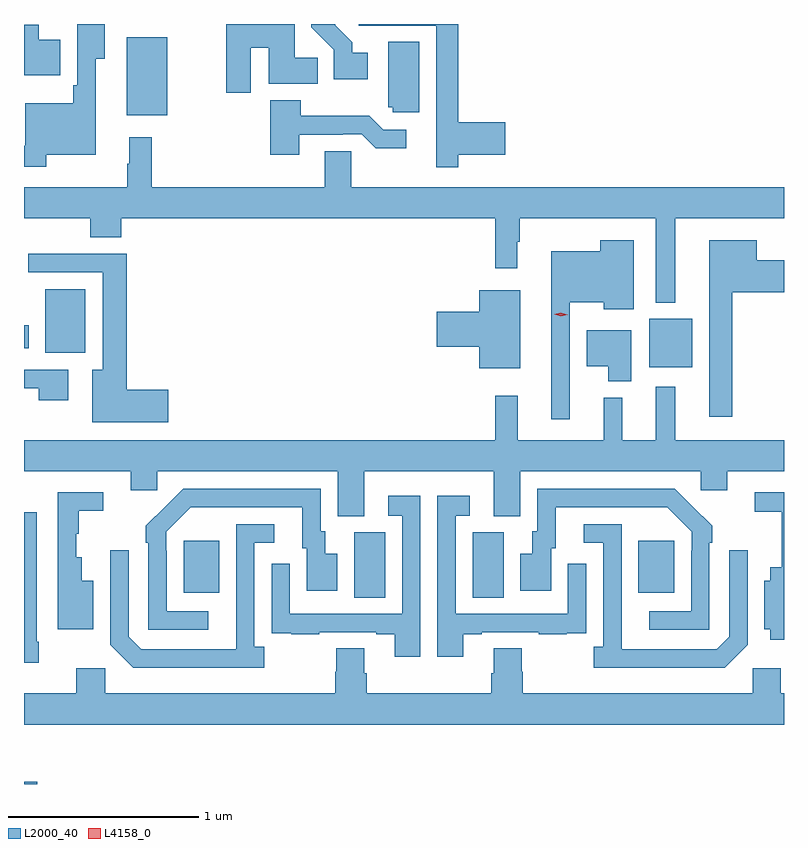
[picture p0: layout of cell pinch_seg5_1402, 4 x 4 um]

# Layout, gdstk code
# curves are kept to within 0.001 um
import gdstk
lib = gdstk.Library(unit=1e-6, precision=1e-09)
def R(c, l, rs):  # rectangles x0, y0, x1, y1
    for r in rs: c.add(gdstk.rectangle(r[:2], r[2:], *l))
def P(c, l, *ps):  # polygons
    for p in ps: c.add(gdstk.Polygon(p, *l))
L2000_40 = (2000, 40)
L4158_0 = (4158, 0)

pinch_seg5_1402 = lib.new_cell('pinch_seg5_1402')
R(pinch_seg5_1402, L2000_40, [(124.553,905.731,124.624,905.743), (126.29,906.712,126.454,907.056), (126.914,906.712,127.078,907.056), (125.393,906.737,125.581,907.012), (127.787,906.737,127.975,907.012), (127.844,907.925,128.071,908.179), (124.664,908,124.876,908.335), (124.553,908.024,124.579,908.146), (125.093,909.251,125.308,909.661)])
P(pinch_seg5_1402, L2000_40, [(125.746,909.605),(125.84,909.605),(125.84,909.416),(126.098,909.416),(126.098,909.554),(125.977,909.554),(125.977,909.731),(125.617,909.731),(125.617,909.369),(125.746,909.369)],
  [(126.839,909.044),(127.087,909.044),(127.087,909.215),(126.839,909.215),(126.839,909.731),(126.315,909.731),(126.315,909.723),(126.723,909.723),(126.723,909.198),(126.722,909.198),(126.722,908.976),(126.839,908.976)],
  [(126.361,909.58),(126.28,909.58),(126.28,909.635),(126.19,909.725),(126.19,909.731),(126.064,909.731),(126.064,909.714),(126.183,909.595),(126.183,909.44),(126.361,909.44)],
  [(124.669,909.044),(124.93,909.044),(124.93,909.548),(124.978,909.548),(124.978,909.731),(124.832,909.731),(124.832,909.409),(124.813,909.409),(124.813,909.313),(124.56,909.313),(124.56,909.091),(124.553,909.091),(124.553,908.979),(124.669,908.979)],
  [(124.744,909.649),(124.63,909.649),(124.63,909.727),(124.553,909.727),(124.553,909.461),(124.744,909.461)],
  [(126.634,909.638),(126.47,909.638),(126.47,909.294),(126.495,909.294),(126.495,909.267),(126.634,909.267)],
  [(126.001,909.147),(126.23,909.147),(126.23,909.15),(126.33,909.15),(126.403,909.077),(126.565,909.077),(126.565,909.174),(126.444,909.174),(126.371,909.247),(126.009,909.247),(126.009,909.331),(125.849,909.331),(125.849,909.042),(126.001,909.042)],
  [(127.981,908.708),(128.553,908.708),(128.553,908.872),(126.276,908.872),(126.276,909.062),(126.137,909.062),(126.137,908.872),(125.225,908.872),(125.225,909.136),(125.108,909.136),(125.108,908.996),(125.097,908.996),(125.097,908.872),(124.553,908.872),(124.553,908.708),(124.901,908.708),(124.901,908.609),(125.066,908.609),(125.066,908.708),(127.033,908.708),(127.033,908.445),(127.15,908.445),(127.15,908.585),(127.162,908.585),(127.162,908.708),(127.877,908.708),(127.877,908.264),(127.981,908.264)],
  [(127.425,908.267),(127.604,908.267),(127.604,908.231),(127.762,908.231),(127.762,908.593),(127.587,908.593),(127.587,908.536),(127.328,908.536),(127.328,907.65),(127.425,907.65)],
  [(128.281,908.318),(128.553,908.318),(128.553,908.488),(128.41,908.488),(128.41,908.593),(128.159,908.593),(128.159,907.665),(128.281,907.665)],
  [(125.311,907.805),(125.093,907.805),(125.093,908.522),(124.575,908.522),(124.575,908.424),(124.967,908.424),(124.967,907.912),(124.913,907.912),(124.913,907.634),(125.311,907.634)],
  [(127.165,908.329),(126.95,908.329),(126.95,908.216),(126.726,908.216),(126.726,908.033),(126.95,908.033),(126.95,907.919),(127.165,907.919)],
  [(127.75,908.119),(127.514,908.119),(127.514,907.931),(127.628,907.931),(127.628,907.85),(127.75,907.85)],
  [(124.786,907.911),(124.553,907.911),(124.553,907.815),(124.63,907.815),(124.63,907.752),(124.786,907.752)],
  [(126.343,907.376),(127.025,907.376),(127.025,907.141),(127.165,907.141),(127.165,907.376),(128.115,907.376),(128.115,907.278),(128.254,907.278),(128.254,907.376),(128.553,907.376),(128.553,907.54),(127.981,907.54),(127.981,907.822),(127.877,907.822),(127.877,907.54),(127.702,907.54),(127.702,907.765),(127.604,907.765),(127.604,907.54),(127.151,907.54),(127.151,907.774),(127.033,907.774),(127.033,907.54),(124.553,907.54),(124.553,907.376),(125.114,907.376),(125.114,907.278),(125.253,907.278),(125.253,907.376),(126.203,907.376),(126.203,907.141),(126.343,907.141)],
  [(125.524,906.639),(125.304,906.639),(125.304,906.959),(125.301,906.959),(125.301,907.059),(125.43,907.188),(126.017,907.188),(126.017,906.972),(126.041,906.972),(126.041,906.747),(126.202,906.747),(126.202,906.943),(126.139,906.943),(126.139,907.062),(126.114,907.062),(126.114,907.284),(125.39,907.284),(125.193,907.089),(125.193,907.001),(125.208,907.001),(125.208,906.543),(125.524,906.543)],
  [(128.16,907.001),(128.175,907.001),(128.175,907.089),(127.978,907.284),(127.254,907.284),(127.254,907.062),(127.229,907.062),(127.229,906.943),(127.166,906.943),(127.166,906.747),(127.327,906.747),(127.327,906.972),(127.351,906.972),(127.351,907.188),(127.939,907.188),(128.067,907.059),(128.067,906.959),(128.064,906.959),(128.064,906.639),(127.845,906.639),(127.845,906.543),(128.16,906.543)],
  [(128.553,907.266),(128.4,907.266),(128.4,907.165),(128.54,907.165),(128.54,906.871),(128.48,906.871),(128.48,906.802),(128.45,906.802),(128.45,906.545),(128.48,906.545),(128.48,906.491),(128.553,906.491)],
  [(124.918,906.802),(124.858,906.802),(124.858,906.925),(124.829,906.925),(124.829,907.047),(124.84,907.047),(124.84,907.168),(124.969,907.168),(124.969,907.266),(124.731,907.266),(124.731,906.798),(124.73,906.798),(124.73,906.545),(124.918,906.545)],
  [(126.639,907.249),(126.471,907.249),(126.471,907.143),(126.543,907.143),(126.543,906.627),(125.952,906.627),(125.952,906.889),(125.856,906.889),(125.856,906.634),(125.857,906.634),(125.857,906.525),(125.959,906.525),(125.959,906.519),(126.107,906.519),(126.107,906.531),(126.407,906.531),(126.407,906.519),(126.503,906.519),(126.503,906.402),(126.639,906.402)],
  [(126.865,906.519),(126.961,906.519),(126.961,906.531),(127.261,906.531),(127.261,906.519),(127.409,906.519),(127.409,906.525),(127.511,906.525),(127.511,906.634),(127.512,906.634),(127.512,906.889),(127.416,906.889),(127.416,906.627),(126.825,906.627),(126.825,907.143),(126.898,907.143),(126.898,907.249),(126.729,907.249),(126.729,906.402),(126.865,906.402)],
  [(124.631,906.481),(124.621,906.481),(124.621,907.16),(124.553,907.16),(124.553,906.369),(124.631,906.369)],
  [(128.361,906.465),(128.361,906.961),(128.265,906.961),(128.265,906.507),(128.199,906.441),(127.699,906.441),(127.698,907.098),(127.5,907.098),(127.5,907.002),(127.602,907.002),(127.602,906.454),(127.551,906.454),(127.551,906.344),(128.24,906.344)],
  [(125.818,906.454),(125.766,906.454),(125.766,907.002),(125.869,907.002),(125.869,907.098),(125.67,907.098),(125.669,906.441),(125.169,906.441),(125.103,906.507),(125.103,906.961),(125.007,906.961),(125.007,906.465),(125.128,906.344),(125.818,906.344)],
  [(128.553,906.208),(128.535,906.208),(128.535,906.34),(128.388,906.34),(128.388,906.208),(127.178,906.208),(127.178,906.321),(127.173,906.321),(127.173,906.446),(127.025,906.446),(127.025,906.314),(127.013,906.314),(127.013,906.208),(126.356,906.208),(126.356,906.314),(126.343,906.314),(126.343,906.446),(126.196,906.446),(126.196,906.321),(126.191,906.321),(126.191,906.208),(124.98,906.208),(124.98,906.34),(124.829,906.34),(124.829,906.208),(124.553,906.208),(124.553,906.044),(128.553,906.044)])
P(pinch_seg5_1402, L4158_0, [(127.378,908.192),(127.343,908.204),(127.343,908.204),(127.343,908.204),(127.379,908.212),(127.414,908.201),(127.415,908.2),(127.414,908.2)])

lib.write_gds('pinch_seg5_1402.gds')
